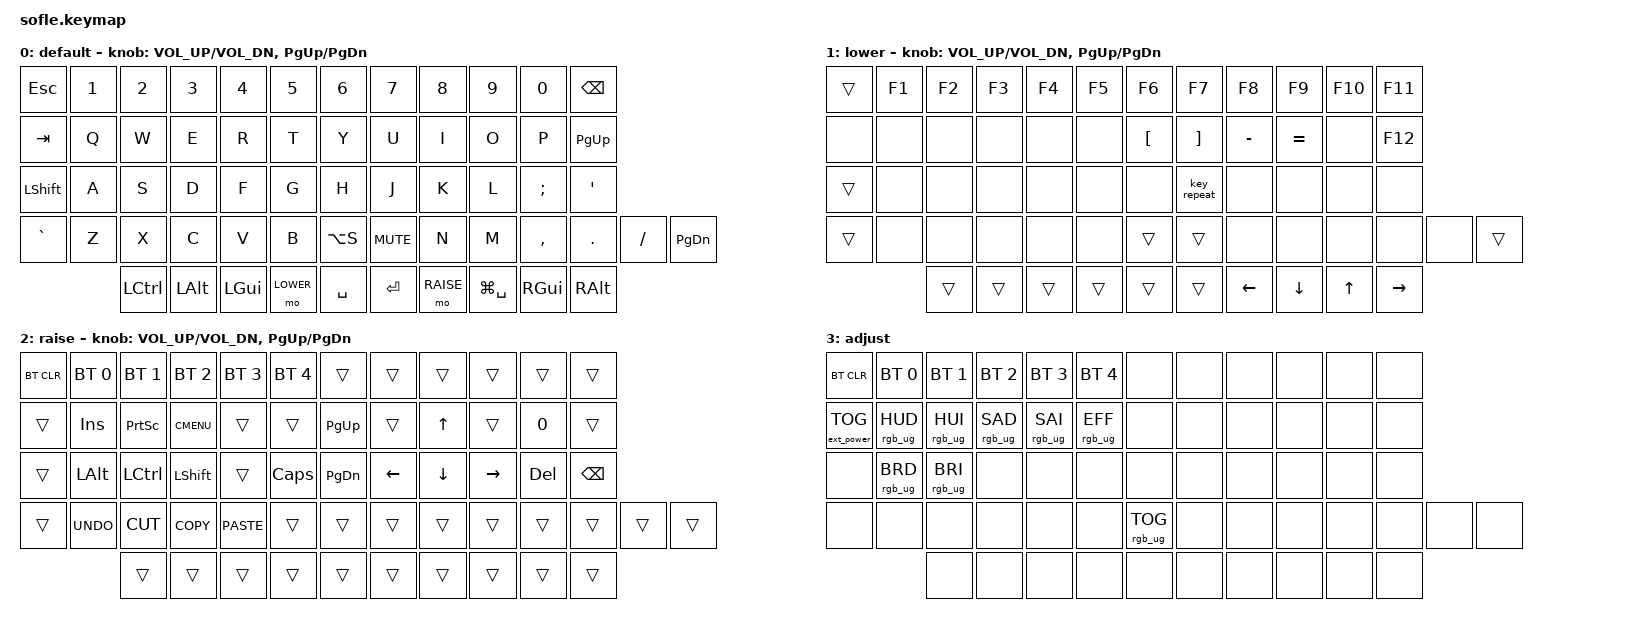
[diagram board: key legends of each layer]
/*
 * Copyright (c) 2020 The ZMK Contributors
 *
 * SPDX-License-Identifier: MIT
 */

#include <behaviors.dtsi>
#include <dt-bindings/zmk/bt.h>
#include <dt-bindings/zmk/ext_power.h>
#include <dt-bindings/zmk/keys.h>
#include <dt-bindings/zmk/rgb.h>

#define BASE 0
#define LOWER 1
#define RAISE 2
#define ADJUST 3

/ {
    // Activate ADJUST layer by pressing raise and lower

    conditional_layers {
        compatible = "zmk,conditional-layers";

        adjust_layer {
            if-layers = <LOWER RAISE>;
            then-layer = <ADJUST>;
        };
    };

    keymap {
        compatible = "zmk,keymap";

        default_layer {
            display-name = "default";

            bindings = <
&kp ESC       &kp N1        &kp N2        &kp N3        &kp N4        &kp N5        &kp N6        &kp N7        &kp N8        &kp N9        &kp N0        &kp BSPC
&kp TAB       &kp Q         &kp W         &kp E         &kp R         &kp T         &kp Y         &kp U         &kp I         &kp O         &kp P         &kp PG_UP
&kp LSHFT     &kp A         &kp S         &kp D         &kp F         &kp G         &kp H         &kp J         &kp K         &kp L         &kp SEMI      &kp SQT
&kp GRAVE     &kp Z         &kp X         &kp C         &kp V         &kp B         &kp LA(S)     &kp C_MUTE    &kp N         &kp M         &kp COMMA     &kp DOT       &kp FSLH      &kp PG_DN
                            &kp LCTRL     &kp LALT      &kp LGUI      &mo LOWER     &kp SPACE     &kp RET       &mo RAISE     &kp LG(SPACE) &kp RGUI      &kp RALT
            >;

            sensor-bindings = <&inc_dec_kp C_VOL_UP C_VOL_DN &inc_dec_kp PG_UP PG_DN>;
        };

        lower_layer {
            display-name = "lower";

            bindings = <
&trans      &kp F1      &kp F2      &kp F3      &kp F4      &kp F5      &kp F6      &kp F7      &kp F8      &kp F9      &kp F10     &kp F11
&none       &none       &none       &none       &none       &none       &kp LBKT    &kp RBKT    &kp MINUS   &kp EQUAL   &none       &kp F12
&trans      &none       &none       &none       &none       &none       &none       &key_repeat &none       &none       &none       &none
&trans      &none       &none       &none       &none       &none       &trans      &trans      &none       &none       &none       &none       &none       &trans
                        &trans      &trans      &trans      &trans      &trans      &trans      &kp LEFT    &kp DOWN    &kp UP      &kp RIGHT
            >;

            sensor-bindings = <&inc_dec_kp C_VOL_UP C_VOL_DN &inc_dec_kp PG_UP PG_DN>;
        };

        raise_layer {
            display-name = "raise";

            bindings = <
&bt BT_CLR   &bt BT_SEL 0 &bt BT_SEL 1 &bt BT_SEL 2 &bt BT_SEL 3 &bt BT_SEL 4 &trans       &trans       &trans       &trans       &trans       &trans
&trans       &kp INS      &kp PSCRN    &kp K_CMENU  &trans       &trans       &kp PG_UP    &trans       &kp UP       &trans       &kp N0       &trans
&trans       &kp LALT     &kp LCTRL    &kp LSHFT    &trans       &kp CAPS     &kp PG_DN    &kp LEFT     &kp DOWN     &kp RIGHT    &kp DEL      &kp BSPC
&trans       &kp K_UNDO   &kp K_CUT    &kp K_COPY   &kp K_PASTE  &trans       &trans       &trans       &trans       &trans       &trans       &trans       &trans       &trans
                          &trans       &trans       &trans       &trans       &trans       &trans       &trans       &trans       &trans       &trans
            >;

            sensor-bindings = <&inc_dec_kp C_VOL_UP C_VOL_DN &inc_dec_kp PG_UP PG_DN>;
        };

        adjust_layer {

            display-name = "adjust";
            bindings = <
&bt BT_CLR        &bt BT_SEL 0      &bt BT_SEL 1      &bt BT_SEL 2      &bt BT_SEL 3      &bt BT_SEL 4      &none             &none             &none             &none             &none             &none
&ext_power EP_TOG &rgb_ug RGB_HUD   &rgb_ug RGB_HUI   &rgb_ug RGB_SAD   &rgb_ug RGB_SAI   &rgb_ug RGB_EFF   &none             &none             &none             &none             &none             &none
&none             &rgb_ug RGB_BRD   &rgb_ug RGB_BRI   &none             &none             &none             &none             &none             &none             &none             &none             &none
&none             &none             &none             &none             &none             &none             &rgb_ug RGB_TOG   &none             &none             &none             &none             &none             &none             &none
                                    &none             &none             &none             &none             &none             &none             &none             &none             &none             &none
            >;
        };
    };
};

// ZMK main turns on the nRF52840's high-voltage DC/DC (reg0) for nice_nano v2. It costs current at keyboard loads,
// much more on ProMicro clones (zmkfirmware/zmk#2990). Keep the LDO.
&reg0 {
    status = "disabled";
};
